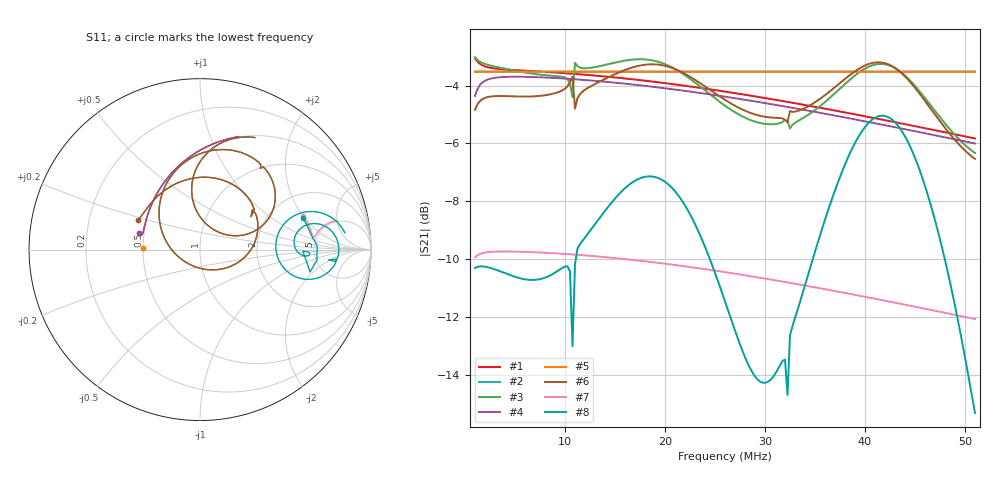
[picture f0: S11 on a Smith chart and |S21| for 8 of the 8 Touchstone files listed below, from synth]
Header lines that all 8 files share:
# MHz S RI R 50
! S-Parameters data
! Freq  reS11  imS11  reS21  imS21  reS12  imS12  reS22  imS22
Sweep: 1 MHz to 51 MHz
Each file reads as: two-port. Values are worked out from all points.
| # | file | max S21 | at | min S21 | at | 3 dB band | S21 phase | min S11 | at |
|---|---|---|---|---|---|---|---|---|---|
| 1 | SAB_Synth_1.s2p | -3.05 dB | 1 MHz | -5.8 dB | 51 MHz | 1 MHz-51 MHz | -24 deg at 26 MHz | -9.2 dB | 3.25 MHz |
| 2 | SAB_Synth_2.s2p | -3.52 dB | 1 MHz | -3.5 dB | 51 MHz | 1 MHz-51 MHz | -0 deg at 26 MHz | -9.5 dB | 32.5 MHz |
| 3 | SAB_Synth_3.s2p | -3.02 dB | 1 MHz | -6.3 dB | 51 MHz | 1 MHz-49.75 MHz | 150 deg at 26 MHz | -19.6 dB | 18.25 MHz |
| 4 | SAC_Synth_1.s2p | -3.70 dB | 5 MHz | -6.0 dB | 51 MHz | 1 MHz-51 MHz | 157 deg at 26 MHz | -9.2 dB | 3.25 MHz |
| 5 | SAC_Synth_2.s2p | -3.52 dB | 50.75 MHz | -3.5 dB | 1 MHz | 1 MHz-51 MHz | -180 deg at 26 MHz | -9.5 dB | 32.5 MHz |
| 6 | SAC_Synth_3.s2p | -3.20 dB | 41.25 MHz | -6.5 dB | 51 MHz | 1 MHz-49.75 MHz | -31 deg at 26 MHz | -19.6 dB | 18.25 MHz |
| 7 | SBC_Synth_1.s2p | -9.73 dB | 4 MHz | -12.1 dB | 51 MHz | 1 MHz-51 MHz | -21 deg at 26 MHz | -3.9 dB | 1 MHz |
| 8 | SBC_Synth_3.s2p | -5.04 dB | 41.75 MHz | -15.3 dB | 51 MHz | 36.75 MHz-46.5 MHz | -19 deg at 26 MHz | -7.1 dB | 41.75 MHz |
